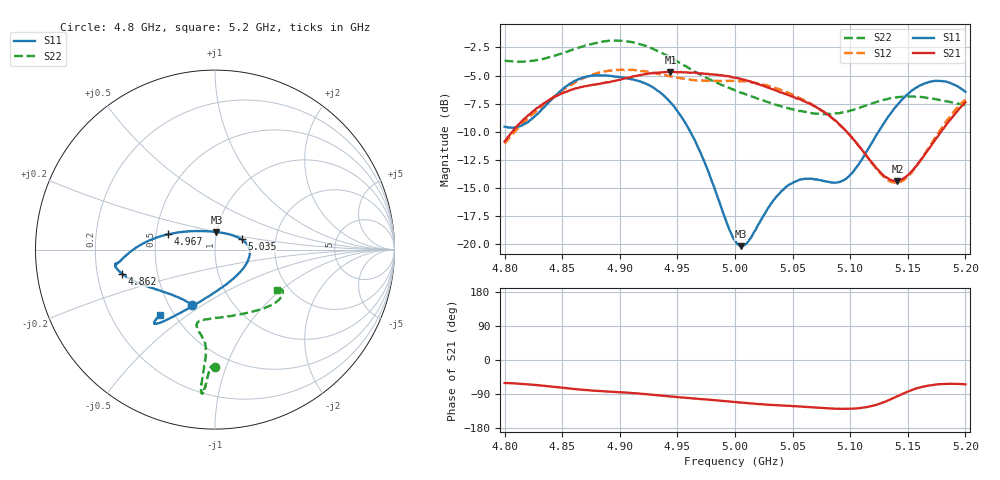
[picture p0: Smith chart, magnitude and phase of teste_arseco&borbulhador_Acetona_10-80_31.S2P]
! Network Analyzer HP8722D
! Hewlett-Packard
! Data name: Linha & Wilkinson
! Saver's name: Rodrigo Anjos
! Comments: Teste da utilização de aquisição
! continua pelo VNA HP8722D
! Time and date: 17/4/2025 14:37
!  Frequency  S11  S21  S12  S22
# HZ  S  MA R 50
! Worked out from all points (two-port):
!   401 points, 4.8 GHz to 5.2 GHz, reference 50 ohm
!   highest |S21| = -4.68 dB at 4.944 GHz (marker M1); lowest = -14.4 dB at 5.141 GHz (marker M2)
!   |S21| within 3 dB of the highest: 4.831 GHz to 5.068 GHz (236.7 MHz wide, 4.78 % of centre); 5.19724 GHz to end of sweep
!   lowest |S11| = -20.2 dB at 5.005 GHz (marker M3), VSWR 1.22, Z = 49.8 + j9.81 ohm
!   |S11| at or under -10 dB: 4.961 GHz to 5.125 GHz (163.4 MHz wide, 3.24 % of centre)
!   |S22| runs from -8.4 to -1.9 dB; largest |S21 - S12| = 0.88
!   S11 on the Smith chart (normalised r, x): 4.8 GHz: 0.65, -0.45; 4.862 GHz: 0.31, -0.12; 4.967 GHz: 0.58, +0.11; 5.035 GHz: 1.34, +0.16; 5.2 GHz: 0.42, -0.39
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4.8e9  0.333 -113.1  0.2863 -60.7  0.2797 -175.0  0.6547 -89.9
4.819e9  0.3461 -133.0  0.3674 -64.0  0.356 -173.4  0.6506 -91.6
4.862e9  0.535 -165.5  0.4939 -76.9  0.5273 -176.5  0.7412 -93.8
4.867e9  0.5478 -167.4  0.5 -78.4  0.5436 -177.8  0.7554 -93.9
4.899e9  0.5539 -172.0  0.5374 -85.1  0.5953 175.7  0.8034 -95.2
4.934e9  0.4779 -178.0  0.5801 -93.5  0.572 171.9  0.7179 -95.6
4.944e9  0.4274 177.4  0.5836 -96.3  0.557 172.0  0.6756 -95.4
4.967e9  0.2762 162.0  0.5767 -102.2  0.5345 174.1  0.5788 -94.9
5e9  0.1038 102.8  0.5511 -111.0  0.5332 176.3  0.4824 -99.1
5.005e9  0.09782 85.5  0.543 -112.4  0.5307 176.4  0.4712 -100.3
5.012e9  0.1035 62.4  0.5304 -114.1  0.5254 176.1  0.4588 -101.9
5.035e9  0.16 20.9  0.4833 -119.1  0.4952 174.8  0.4176 -103.4
5.049e9  0.1857 6.5  0.4536 -121.5  0.4645 174.3  0.3989 -100.2
5.067e9  0.1946 -12.7  0.4166 -124.8  0.4184 173.7  0.3823 -91.0
5.087e9  0.1876 -44.7  0.3548 -128.5  0.3536 173.7  0.3812 -75.9
5.097e9  0.1957 -65.4  0.316 -128.9  0.3153 174.7  0.3884 -67.6
5.134e9  0.3744 -115.9  0.194 -105.3  0.1907 -158.1  0.4446 -43.0
5.141e9  0.4165 -120.0  0.1906 -95.3  0.1878 -147.1  0.4503 -39.9
5.152e9  0.4744 -124.5  0.207 -80.9  0.2045 -130.1  0.4533 -35.9
5.17e9  0.5286 -128.5  0.2726 -66.4  0.2781 -112.6  0.4452 -31.9
5.184e9  0.5268 -129.9  0.3432 -63.0  0.3551 -107.3  0.4318 -30.9
5.2e9  0.4759 -130.3  0.4274 -64.2  0.4399 -106.3  0.415 -33.3
